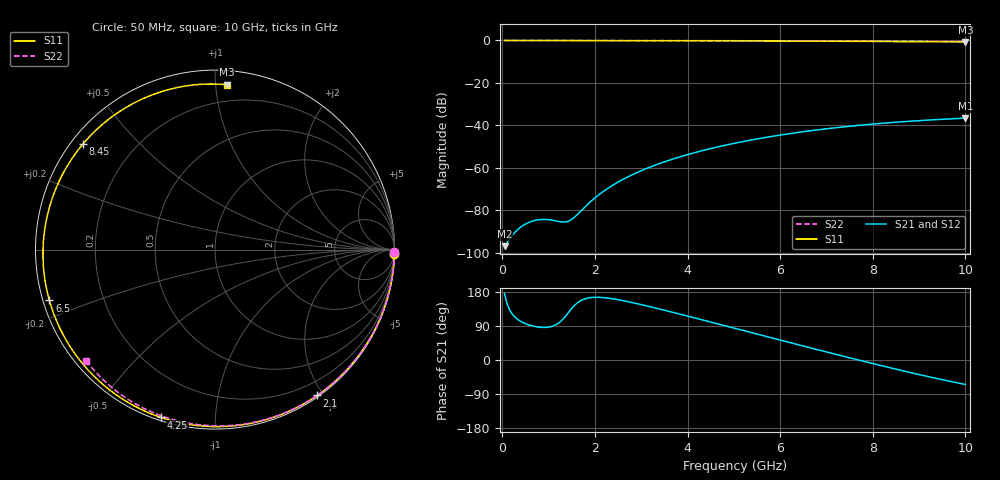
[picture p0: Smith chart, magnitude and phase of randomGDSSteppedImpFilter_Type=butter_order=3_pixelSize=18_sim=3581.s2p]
! freq	dB(S11)	phase(S11)	dB(S12)	phase(S12)
!  dB(S21)	phase(S21)	dB(S22)	phase(S22)
!S-par simulation data
#  GHz  S  DB  R 50
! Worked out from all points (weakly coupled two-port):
!   200 points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, 50 MHz to 10 GHz, reference 50 ohm
!   highest |S21| = -36.55 dB at 10 GHz (marker M1); lowest = -96.8 dB at 50 MHz (marker M2)
!   lowest |S11| = -0.7 dB at 10 GHz (marker M3), VSWR 24.32, Z = 4.41 + j53.4 ohm
!   |S11| at or under -10 dB: nowhere
!   |S22| runs from -0.5 to 0.0 dB; largest |S21 - S12| = 0
!   S11 on the Smith chart (normalised r, x): 50 MHz: 0, -85; 2.1 GHz: 0.02, -1.92; 4.25 GHz: 0.01, -0.73; 6.5 GHz: 0.02, -0.15; 8.45 GHz: 0.03, +0.35; 10 GHz: 0.09, +1.07
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0.05  -0.00 -1.3  -96.82 175.0  -96.82 175.0  -0.00 -0.8
0.85  -0.03 -22.6  -84.25 86.1  -84.25 86.1  -0.02 -13.6
1.7  -0.06 -44.8  -80.19 157.0  -80.19 157.0  -0.03 -27.0
1.75  -0.06 -46.1  -79.10 159.9  -79.10 159.9  -0.04 -27.8
2.1  -0.07 -55.0  -72.37 165.4  -72.37 165.4  -0.04 -33.2
2.35  -0.08 -61.3  -68.61 162.1  -68.61 162.1  -0.05 -37.1
2.65  -0.09 -68.8  -64.89 155.5  -64.89 155.5  -0.05 -41.6
3.4  -0.11 -87.3  -57.90 134.4  -57.90 134.4  -0.07 -52.9
4.25  -0.15 -107.8  -52.25 108.1  -52.25 108.1  -0.09 -65.2
5.05  -0.20 -127.0  -48.22 82.7  -48.22 82.7  -0.12 -76.4
5.8  -0.25 -145.3  -45.23 58.8  -45.23 58.8  -0.15 -86.6
6.5  -0.31 -162.9  -42.95 36.8  -42.95 36.8  -0.18 -95.8
6.7  -0.33 -168.1  -42.38 30.5  -42.38 30.5  -0.19 -98.4
7.15  -0.37 179.8  -41.20 16.6  -41.20 16.6  -0.22 -104.2
7.55  -0.41 168.6  -40.27 4.3  -40.27 4.3  -0.24 -109.2
7.95  -0.46 156.9  -39.44 -7.8  -39.44 -7.8  -0.27 -114.2
8.35  -0.51 144.5  -38.72 -19.7  -38.72 -19.7  -0.30 -119.2
8.45  -0.52 141.3  -38.55 -22.7  -38.55 -22.7  -0.31 -120.4
8.85  -0.57 128.1  -37.94 -34.2  -37.94 -34.2  -0.35 -125.3
9.3  -0.63 112.3  -37.34 -46.7  -37.34 -46.7  -0.39 -130.8
9.65  -0.67 99.4  -36.93 -55.9  -36.93 -55.9  -0.43 -135.0
10  -0.71 86.0  -36.55 -64.6  -36.55 -64.6  -0.47 -139.3
